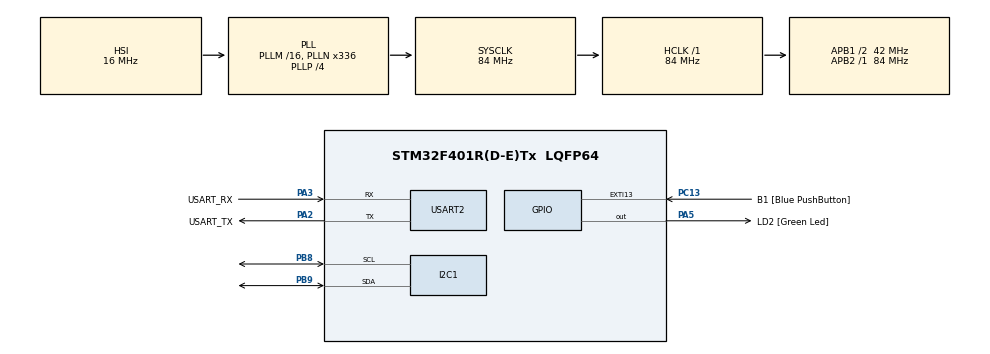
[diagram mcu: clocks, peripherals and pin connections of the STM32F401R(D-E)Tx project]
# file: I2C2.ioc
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Mcu.Family=STM32F4
Mcu.Name=STM32F401R(D-E)Tx
Mcu.Package=LQFP64
NVIC.PriorityGroup=NVIC_PRIORITYGROUP_0
NVIC.TIM2_IRQn=true\:0\:0\:false\:false\:true\:true\:true\:true
PA13.GPIO_Label=TMS
PA13.Mode=Serial_Wire
PA13.Signal=SYS_JTMS-SWDIO
PA14.GPIO_Label=TCK
PA14.Mode=Serial_Wire
PA14.Signal=SYS_JTCK-SWCLK
PA2.GPIO_Label=USART_TX
PA2.GPIO_Mode=GPIO_MODE_AF_PP
PA2.GPIO_PuPd=GPIO_NOPULL
PA2.GPIO_Speed=GPIO_SPEED_FREQ_LOW
PA2.Mode=Asynchronous
PA2.Signal=USART2_TX
PA3.GPIO_Label=USART_RX
PA3.GPIO_Mode=GPIO_MODE_AF_PP
PA3.GPIO_PuPd=GPIO_NOPULL
PA3.GPIO_Speed=GPIO_SPEED_FREQ_LOW
PA3.Mode=Asynchronous
PA3.Signal=USART2_RX
PA5.GPIO_Label=LD2 [Green Led]
PA5.GPIO_Mode=GPIO_MODE_OUTPUT_PP
PA5.GPIO_PuPd=GPIO_NOPULL
PA5.GPIO_Speed=GPIO_SPEED_FREQ_LOW
PA5.Signal=GPIO_Output
PB3.GPIO_Label=SWO
PB3.Signal=SYS_JTDO-SWO
PB8.Mode=I2C
PB8.Signal=I2C1_SCL
PB9.Mode=I2C
PB9.Signal=I2C1_SDA
PC13-ANTI_TAMP.GPIO_Label=B1 [Blue PushButton]
PC13-ANTI_TAMP.GPIO_ModeDefaultEXTI=GPIO_MODE_IT_FALLING
PC13-ANTI_TAMP.GPIO_PuPd=GPIO_NOPULL
PC13-ANTI_TAMP.Signal=GPXTI13
PC14-OSC32_IN.Mode=LSE-External-Oscillator
PC14-OSC32_IN.Signal=RCC_OSC32_IN
PC15-OSC32_OUT.Mode=LSE-External-Oscillator
PC15-OSC32_OUT.Signal=RCC_OSC32_OUT
PH0\ -\ OSC_IN.Mode=HSE-External-Clock-Source
PH0\ -\ OSC_IN.Signal=RCC_OSC_IN
PH1\ -\ OSC_OUT.Mode=HSE-External-Clock-Source
PH1\ -\ OSC_OUT.Signal=RCC_OSC_OUT
ProjectManager.HeapSize=0x200
ProjectManager.StackSize=0x400
ProjectManager.TargetToolchain=STM32CubeIDE
RCC.48MHZClocksFreq_Value=48000000
RCC.AHBFreq_Value=84000000
RCC.APB1CLKDivider=RCC_HCLK_DIV2
RCC.APB1Freq_Value=42000000
RCC.APB1TimFreq_Value=84000000
RCC.APB2Freq_Value=84000000
RCC.APB2TimFreq_Value=84000000
RCC.CortexFreq_Value=84000000
RCC.HCLKFreq_Value=84000000
RCC.HSE_VALUE=8000000
RCC.HSI_VALUE=16000000
RCC.PLLN=336
RCC.PLLP=RCC_PLLP_DIV4
RCC.PLLQ=7
RCC.SYSCLKFreq_VALUE=84000000
RCC.SYSCLKSource=RCC_SYSCLKSOURCE_PLLCLK
RCC.VCOOutputFreq_Value=336000000
TIM2.Period=10000-1
TIM2.Prescaler=8400-1
USART2.VirtualMode=VM_ASYNC
VP_TIM2_VS_ClockSourceINT.Mode=Internal
board=NUCLEO-F401RE

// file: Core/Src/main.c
/* USER CODE BEGIN Header */
/**
  ******************************************************************************
  * @file           : main.c
  * @brief          : Main program body
  ******************************************************************************
  * @attention
  *
  * Copyright (c) 2022 STMicroelectronics.
  * All rights reserved.
  *
  * This software is licensed under terms that can be found in the LICENSE file
  * in the root directory of this software component.
  * If no LICENSE file comes with this software, it is provided AS-IS.
  *
  ******************************************************************************
  */
/* USER CODE END Header */
#include "main.h"

/* USER CODE BEGIN Includes */
#include "stdio.h"
/* USER CODE END Includes */

I2C_HandleTypeDef hi2c1;

TIM_HandleTypeDef htim2;

UART_HandleTypeDef huart2;

/* USER CODE BEGIN PV */
uint8_t LM75_ADDRESS = 0b10010000;

uint8_t LM75_TEMP_ADDRESS = 0x00;
/* USER CODE END PV */

void SystemClock_Config(void);
static void MX_GPIO_Init(void);
static void MX_USART2_UART_Init(void);
static void MX_I2C1_Init(void);
static void MX_TIM2_Init(void);

int main(void)
{

  /* MCU Configuration--------------------------------------------------------*/

  /* Reset of all peripherals, Initializes the Flash interface and the Systick. */
  HAL_Init();

  /* Configure the system clock */
  SystemClock_Config();

  /* Initialize all configured peripherals */
  MX_GPIO_Init();
  MX_USART2_UART_Init();
  MX_I2C1_Init();
  MX_TIM2_Init();
  /* USER CODE BEGIN 2 */
  HAL_I2C_Master_Transmit(&hi2c1, LM75_TEMP_ADDRESS, &LM75_TEMP_ADDRESS, 1, 10);
  HAL_TIM_Base_Start_IT(&htim2);
  /* USER CODE END 2 */

  /* Infinite loop */
  while (1)
  {

  }
}

void SystemClock_Config(void)
{
  RCC_OscInitTypeDef RCC_OscInitStruct = {0};
  RCC_ClkInitTypeDef RCC_ClkInitStruct = {0};

  /** Configure the main internal regulator output voltage
  */
  __HAL_RCC_PWR_CLK_ENABLE();
  __HAL_PWR_VOLTAGESCALING_CONFIG(PWR_REGULATOR_VOLTAGE_SCALE2);

  /** Initializes the RCC Oscillators according to the specified parameters
  * in the RCC_OscInitTypeDef structure.
  */
  RCC_OscInitStruct.OscillatorType = RCC_OSCILLATORTYPE_HSI;
  RCC_OscInitStruct.HSIState = RCC_HSI_ON;
  RCC_OscInitStruct.HSICalibrationValue = RCC_HSICALIBRATION_DEFAULT;
  RCC_OscInitStruct.PLL.PLLState = RCC_PLL_ON;
  RCC_OscInitStruct.PLL.PLLSource = RCC_PLLSOURCE_HSI;
  RCC_OscInitStruct.PLL.PLLM = 16;
  RCC_OscInitStruct.PLL.PLLN = 336;
  RCC_OscInitStruct.PLL.PLLP = RCC_PLLP_DIV4;
  RCC_OscInitStruct.PLL.PLLQ = 7;
  if (HAL_RCC_OscConfig(&RCC_OscInitStruct) != HAL_OK)
  {
    Error_Handler();
  }

  /** Initializes the CPU, AHB and APB buses clocks
  */
  RCC_ClkInitStruct.ClockType = RCC_CLOCKTYPE_HCLK|RCC_CLOCKTYPE_SYSCLK
                              |RCC_CLOCKTYPE_PCLK1|RCC_CLOCKTYPE_PCLK2;
  RCC_ClkInitStruct.SYSCLKSource = RCC_SYSCLKSOURCE_PLLCLK;
  RCC_ClkInitStruct.AHBCLKDivider = RCC_SYSCLK_DIV1;
  RCC_ClkInitStruct.APB1CLKDivider = RCC_HCLK_DIV2;
  RCC_ClkInitStruct.APB2CLKDivider = RCC_HCLK_DIV1;

  if (HAL_RCC_ClockConfig(&RCC_ClkInitStruct, FLASH_LATENCY_2) != HAL_OK)
  {
    Error_Handler();
  }
}

static void MX_I2C1_Init(void)
{

  hi2c1.Instance = I2C1;
  hi2c1.Init.ClockSpeed = 100000;
  hi2c1.Init.DutyCycle = I2C_DUTYCYCLE_2;
  hi2c1.Init.OwnAddress1 = 0;
  hi2c1.Init.AddressingMode = I2C_ADDRESSINGMODE_7BIT;
  hi2c1.Init.DualAddressMode = I2C_DUALADDRESS_DISABLE;
  hi2c1.Init.OwnAddress2 = 0;
  hi2c1.Init.GeneralCallMode = I2C_GENERALCALL_DISABLE;
  hi2c1.Init.NoStretchMode = I2C_NOSTRETCH_DISABLE;
  if (HAL_I2C_Init(&hi2c1) != HAL_OK)
  {
    Error_Handler();
  }

}

static void MX_TIM2_Init(void)
{

  TIM_ClockConfigTypeDef sClockSourceConfig = {0};
  TIM_MasterConfigTypeDef sMasterConfig = {0};

  htim2.Instance = TIM2;
  htim2.Init.Prescaler = 8400-1;
  htim2.Init.CounterMode = TIM_COUNTERMODE_UP;
  htim2.Init.Period = 10000-1;
  htim2.Init.ClockDivision = TIM_CLOCKDIVISION_DIV1;
  htim2.Init.AutoReloadPreload = TIM_AUTORELOAD_PRELOAD_DISABLE;
  if (HAL_TIM_Base_Init(&htim2) != HAL_OK)
  {
    Error_Handler();
  }
  sClockSourceConfig.ClockSource = TIM_CLOCKSOURCE_INTERNAL;
  if (HAL_TIM_ConfigClockSource(&htim2, &sClockSourceConfig) != HAL_OK)
  {
    Error_Handler();
  }
  sMasterConfig.MasterOutputTrigger = TIM_TRGO_RESET;
  sMasterConfig.MasterSlaveMode = TIM_MASTERSLAVEMODE_DISABLE;
  if (HAL_TIMEx_MasterConfigSynchronization(&htim2, &sMasterConfig) != HAL_OK)
  {
    Error_Handler();
  }

}

static void MX_USART2_UART_Init(void)
{

  huart2.Instance = USART2;
  huart2.Init.BaudRate = 115200;
  huart2.Init.WordLength = UART_WORDLENGTH_8B;
  huart2.Init.StopBits = UART_STOPBITS_1;
  huart2.Init.Parity = UART_PARITY_NONE;
  huart2.Init.Mode = UART_MODE_TX_RX;
  huart2.Init.HwFlowCtl = UART_HWCONTROL_NONE;
  huart2.Init.OverSampling = UART_OVERSAMPLING_16;
  if (HAL_UART_Init(&huart2) != HAL_OK)
  {
    Error_Handler();
  }

}

static void MX_GPIO_Init(void)
{
  GPIO_InitTypeDef GPIO_InitStruct = {0};

  /* GPIO Ports Clock Enable */
  __HAL_RCC_GPIOC_CLK_ENABLE();
  __HAL_RCC_GPIOH_CLK_ENABLE();
  __HAL_RCC_GPIOA_CLK_ENABLE();
  __HAL_RCC_GPIOB_CLK_ENABLE();

  /*Configure GPIO pin Output Level */
  HAL_GPIO_WritePin(LD2_GPIO_Port, LD2_Pin, GPIO_PIN_RESET);

  /*Configure GPIO pin : B1_Pin */
  GPIO_InitStruct.Pin = B1_Pin;
  GPIO_InitStruct.Mode = GPIO_MODE_IT_FALLING;
  GPIO_InitStruct.Pull = GPIO_NOPULL;
  HAL_GPIO_Init(B1_GPIO_Port, &GPIO_InitStruct);

  /*Configure GPIO pin : LD2_Pin */
  GPIO_InitStruct.Pin = LD2_Pin;
  GPIO_InitStruct.Mode = GPIO_MODE_OUTPUT_PP;
  GPIO_InitStruct.Pull = GPIO_NOPULL;
  GPIO_InitStruct.Speed = GPIO_SPEED_FREQ_LOW;
  HAL_GPIO_Init(LD2_GPIO_Port, &GPIO_InitStruct);

}

/* USER CODE BEGIN 4 */
void HAL_TIM_PeriodElapsedCallback(TIM_HandleTypeDef *htim)
{
	uint8_t buf[2];
	uint16_t val;
	int16_t signed_val;
	float temp = 0;
	int len = 0;
	char str[32];
	if(HAL_I2C_Master_Receive(&hi2c1, LM75_ADDRESS+1 , buf, 2, 20) == HAL_OK){

	  val = (buf[0] << 3 | buf[1] >> 5);

	  if((val & 0x400) != 0){
		  signed_val = (int16_t)(val<<5)/32;
	  }else{
		  signed_val = (int16_t)val;
	  }

	  temp = signed_val * 0.125;
	  len = snprintf(str, sizeof(str), "Temperature: %.3f\r\n", temp);
	}else{
	  len = snprintf(str, sizeof(str), "Error reading from sensor\r\n");
	}
	HAL_UART_Transmit(&huart2, str, len, 100);
}
/* USER CODE END 4 */

void Error_Handler(void)
{
  __disable_irq();
  while (1)
  {
  }
}
